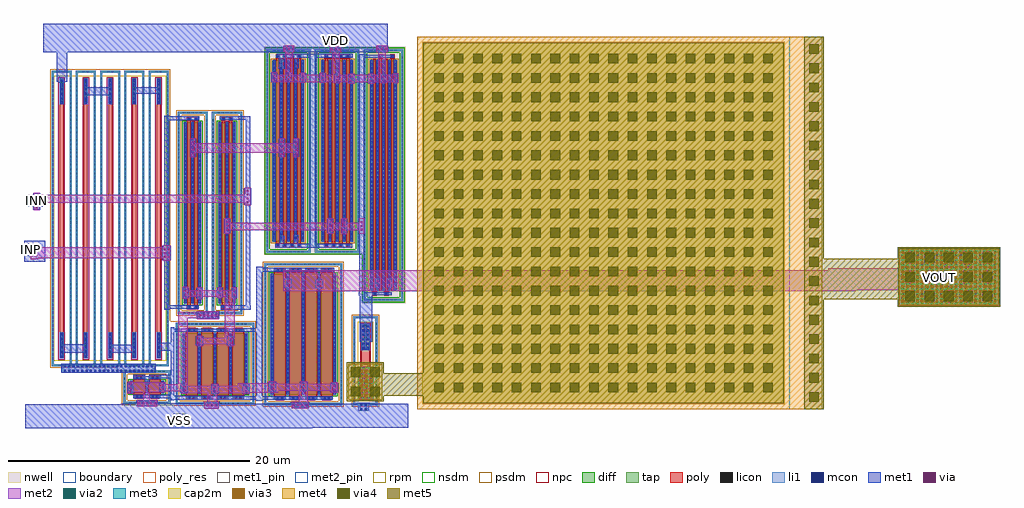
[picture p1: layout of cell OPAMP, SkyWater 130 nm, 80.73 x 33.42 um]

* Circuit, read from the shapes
.subckt OPAMP INN INP VDD VOUT VSS
XM1 n1 n1 VSS VSS sky130_fd_pr__nfet_01v8 w=1 l=1 m=2
XM2 n2 n1 VSS VSS sky130_fd_pr__nfet_01v8 w=5 l=1 m=4
XM3 n3 INP n2 VSS sky130_fd_pr__nfet_01v8 w=15 l=0.3 m=2
XM4 n4 INN n2 VSS sky130_fd_pr__nfet_01v8 w=15 l=0.3 m=2
XM5 VOUT n1 VSS VSS sky130_fd_pr__nfet_01v8 w=10 l=1 m=4
XM6 n3 n3 VDD VDD sky130_fd_pr__pfet_01v8 w=15 l=0.3 m=4
XM7 n4 n3 VDD VDD sky130_fd_pr__pfet_01v8 w=15 l=0.3 m=4
XM8 VOUT n4 VDD VDD sky130_fd_pr__pfet_01v8 w=19 l=0.2 m=4
XC9 n5 VOUT sky130_fd_pr__cap_mim_m3_2 w=30 l=30
XR10 VDD n6 VSS sky130_fd_pr__res_high_po w=0.35 l=18.88
XR11 n7 n6 VSS sky130_fd_pr__res_high_po w=0.35 l=18.88
XR12 n7 n8 VSS sky130_fd_pr__res_high_po w=0.35 l=18.88
XR13 n9 n8 VSS sky130_fd_pr__res_high_po w=0.35 l=18.88
XR14 n9 n1 VSS sky130_fd_pr__res_high_po w=0.35 l=18.88
XR15 n4 n5 VSS sky130_fd_pr__res_high_po w=0.69 l=1.78
.ends

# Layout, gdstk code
import gdstk
lib = gdstk.Library(unit=1e-6, precision=1e-09)
def R(c, l, rs):  # rectangles x0, y0, x1, y1
    for r in rs: c.add(gdstk.rectangle(r[:2], r[2:], *l))
def A(c, l, x, y, w, h, nx, ny, dx, dy):  # array of equal rectangles
    R(c, l, [(x+i*dx, y+j*dy, x+i*dx+w, y+j*dy+h) for i in range(nx) for j in range(ny)])
nwell = (64, 20)
diff = (65, 20)
tap = (65, 44)
poly_res = (66, 13)
poly = (66, 20)
licon = (66, 44)
li1 = (67, 20)
mcon = (67, 44)
met1_pin = (68, 16)
met1 = (68, 20)
via = (68, 44)
met2_pin = (69, 16)
met2 = (69, 20)
via2 = (69, 44)
met3 = (70, 20)
via3 = (70, 44)
met4 = (71, 20)
via4 = (71, 44)
met5 = (72, 20)
rpm = (86, 20)
nsdm = (93, 44)
psdm = (94, 20)
npc = (95, 20)
cap2m = (97, 44)
boundary = (235, 4)

sky130_fd_pr__res_high_p = lib.new_cell('sky130_fd_pr__res_high_po_0p35_BQ2QQJ')
R(sky130_fd_pr__res_high_p, tap, [(-0.825,-12.23,0.825,-12.06), (-0.825,-12.06,-0.655,12.06), (0.655,-12.06,0.825,12.06), (-0.825,12.06,0.825,12.23)])
R(sky130_fd_pr__res_high_p, poly_res, [(-0.175,-9.5,0.175,9.5)])
R(sky130_fd_pr__res_high_p, poly, [(-0.175,-11.58,0.175,11.58)])
A(sky130_fd_pr__res_high_p, licon, -0.825, -11.645, 0.17, 0.17, 1, 69, 0, 0.34)
A(sky130_fd_pr__res_high_p, licon, 0.655, -11.645, 0.17, 0.17, 1, 69, 0, 0.34)
R(sky130_fd_pr__res_high_p, licon, [(-0.255,-12.23,-0.085,-12.06), (0.085,-12.23,0.255,-12.06), (-0.095,-11.5,0.095,-9.5), (-0.095,9.5,0.095,11.5), (-0.255,12.06,-0.085,12.23), (0.085,12.06,0.255,12.23)])
R(sky130_fd_pr__res_high_p, li1, [(-0.825,-12.23,0.825,-12.06), (-0.825,-12.06,-0.655,12.06), (0.655,-12.06,0.825,12.06), (-0.175,-11.58,0.175,-9.42), (-0.175,9.42,0.175,11.58), (-0.825,12.06,0.825,12.23)])
A(sky130_fd_pr__res_high_p, mcon, -0.085, -11.485, 0.17, 0.17, 1, 6, 0, 0.36)
A(sky130_fd_pr__res_high_p, mcon, -0.085, 9.51, 0.17, 0.17, 1, 6, 0, 0.36)
R(sky130_fd_pr__res_high_p, met1, [(-0.125,-11.55,0.125,-9.445), (-0.125,9.445,0.125,11.55)])
R(sky130_fd_pr__res_high_p, rpm, [(-0.635,-11.78,0.635,11.78)])
R(sky130_fd_pr__res_high_p, psdm, [(-0.95,-12.355,0.95,12.355)])
R(sky130_fd_pr__res_high_p, npc, [(-0.27,-11.675,0.27,11.675)])
R(sky130_fd_pr__res_high_p, boundary, [(-0.74,-12.145,0.74,12.145)])

sky130_fd_pr__nfet_01v8_ = lib.new_cell('sky130_fd_pr__nfet_01v8_JCA7Y6')
R(sky130_fd_pr__nfet_01v8_, diff, [(-1.435,-0.5,1.435,0.5)])
R(sky130_fd_pr__nfet_01v8_, tap, [(-1.945,-1.37,1.945,-1.2), (-1.945,-1.2,-1.775,1.2), (1.775,-1.2,1.945,1.2), (-1.945,1.2,1.945,1.37)])
R(sky130_fd_pr__nfet_01v8_, poly, [(-1.145,-0.94,-0.145,0.94), (0.145,-0.94,1.145,0.94)])
A(sky130_fd_pr__nfet_01v8_, licon, -1.445, -1.37, 0.17, 0.17, 9, 2, 0.34, 2.57)
A(sky130_fd_pr__nfet_01v8_, licon, -1.945, -0.765, 0.17, 0.17, 1, 5, 0, 0.34)
A(sky130_fd_pr__nfet_01v8_, licon, 1.775, -0.765, 0.17, 0.17, 1, 5, 0, 0.34)
A(sky130_fd_pr__nfet_01v8_, licon, -1.375, -0.425, 0.17, 0.17, 3, 3, 1.29, 0.34)
R(sky130_fd_pr__nfet_01v8_, licon, [(-0.9,-0.86,-0.73,-0.69), (-0.56,-0.86,-0.39,-0.69), (0.39,-0.86,0.56,-0.69), (0.73,-0.86,0.9,-0.69), (-0.9,0.69,-0.73,0.86), (-0.56,0.69,-0.39,0.86), (0.39,0.69,0.56,0.86), (0.73,0.69,0.9,0.86)])
A(sky130_fd_pr__nfet_01v8_, li1, -1.375, -0.52, 0.17, 1.04, 3, 1, 1.29, 0)
R(sky130_fd_pr__nfet_01v8_, li1, [(-1.945,-1.37,1.945,-1.2), (-1.945,-1.2,-1.775,1.2), (1.775,-1.2,1.945,1.2), (-1.145,-0.86,-0.145,-0.69), (0.145,-0.86,1.145,-0.69), (-1.145,0.69,-0.145,0.86), (0.145,0.69,1.145,0.86), (-1.945,1.2,1.945,1.37)])
A(sky130_fd_pr__nfet_01v8_, mcon, -1.375, -0.265, 0.17, 0.17, 3, 2, 1.29, 0.36)
R(sky130_fd_pr__nfet_01v8_, mcon, [(-0.91,-0.86,-0.74,-0.69), (-0.55,-0.86,-0.38,-0.69), (0.38,-0.86,0.55,-0.69), (0.74,-0.86,0.91,-0.69), (-0.91,0.69,-0.74,0.86), (-0.55,0.69,-0.38,0.86), (0.38,0.69,0.55,0.86), (0.74,0.69,0.91,0.86)])
A(sky130_fd_pr__nfet_01v8_, met1, -1.405, -0.5, 0.23, 1, 3, 1, 1.29, 0)
R(sky130_fd_pr__nfet_01v8_, met1, [(-1.125,-0.89,-0.165,-0.66), (0.165,-0.89,1.125,-0.66), (-1.125,0.66,-0.165,0.89), (0.165,0.66,1.125,0.89)])
R(sky130_fd_pr__nfet_01v8_, nsdm, [(-1.56,-0.625,1.56,0.625)])
R(sky130_fd_pr__nfet_01v8_, psdm, [(-2.07,-1.495,2.07,-1.075), (-2.07,-1.075,-1.65,1.075), (1.65,-1.075,2.07,1.075), (-2.07,1.075,2.07,1.495)])
R(sky130_fd_pr__nfet_01v8_, npc, [(-1,-0.96,-0.29,-0.59), (0.29,-0.96,1,-0.59), (-1,0.59,-0.29,0.96), (0.29,0.59,1,0.96)])
R(sky130_fd_pr__nfet_01v8_, boundary, [(-1.86,-1.285,1.86,1.285)])

c_sky130_fd_pr__nfet_01v8_ = lib.new_cell('sky130_fd_pr__nfet_01v8_4G38HM')
R(c_sky130_fd_pr__nfet_01v8_, diff, [(-2.725,-2.5,2.725,2.5)])
R(c_sky130_fd_pr__nfet_01v8_, tap, [(-3.235,-3.37,3.235,-3.2), (-3.235,-3.2,-3.065,3.2), (3.065,-3.2,3.235,3.2), (-3.235,3.2,3.235,3.37)])
A(c_sky130_fd_pr__nfet_01v8_, poly, -2.435, -2.94, 1, 5.88, 4, 1, 1.29, 0)
A(c_sky130_fd_pr__nfet_01v8_, licon, -2.635, -3.37, 0.17, 0.17, 16, 2, 0.34, 6.57)
A(c_sky130_fd_pr__nfet_01v8_, licon, -3.235, -2.805, 0.17, 0.17, 1, 17, 0, 0.34)
A(c_sky130_fd_pr__nfet_01v8_, licon, 3.065, -2.805, 0.17, 0.17, 1, 17, 0, 0.34)
A(c_sky130_fd_pr__nfet_01v8_, licon, -2.665, -2.295, 0.17, 0.17, 5, 14, 1.29, 0.34)
R(c_sky130_fd_pr__nfet_01v8_, licon, [(-2.19,-2.86,-2.02,-2.69), (-1.85,-2.86,-1.68,-2.69), (-0.9,-2.86,-0.73,-2.69), (-0.56,-2.86,-0.39,-2.69), (0.39,-2.86,0.56,-2.69), (0.73,-2.86,0.9,-2.69), (1.68,-2.86,1.85,-2.69), (2.02,-2.86,2.19,-2.69), (-2.19,2.69,-2.02,2.86), (-1.85,2.69,-1.68,2.86), (-0.9,2.69,-0.73,2.86), (-0.56,2.69,-0.39,2.86), (0.39,2.69,0.56,2.86), (0.73,2.69,0.9,2.86), (1.68,2.69,1.85,2.86), (2.02,2.69,2.19,2.86)])
A(c_sky130_fd_pr__nfet_01v8_, li1, -2.435, -2.86, 1, 0.17, 4, 2, 1.29, 5.55)
A(c_sky130_fd_pr__nfet_01v8_, li1, -2.665, -2.52, 0.17, 5.04, 5, 1, 1.29, 0)
R(c_sky130_fd_pr__nfet_01v8_, li1, [(-3.235,-3.37,3.235,-3.2), (-3.235,-3.2,-3.065,3.2), (3.065,-3.2,3.235,3.2), (-3.235,3.2,3.235,3.37)])
A(c_sky130_fd_pr__nfet_01v8_, mcon, -2.665, -2.425, 0.17, 0.17, 5, 14, 1.29, 0.36)
R(c_sky130_fd_pr__nfet_01v8_, mcon, [(-2.2,-2.86,-2.03,-2.69), (-1.84,-2.86,-1.67,-2.69), (-0.91,-2.86,-0.74,-2.69), (-0.55,-2.86,-0.38,-2.69), (0.38,-2.86,0.55,-2.69), (0.74,-2.86,0.91,-2.69), (1.67,-2.86,1.84,-2.69), (2.03,-2.86,2.2,-2.69), (-2.2,2.69,-2.03,2.86), (-1.84,2.69,-1.67,2.86), (-0.91,2.69,-0.74,2.86), (-0.55,2.69,-0.38,2.86), (0.38,2.69,0.55,2.86), (0.74,2.69,0.91,2.86), (1.67,2.69,1.84,2.86), (2.03,2.69,2.2,2.86)])
A(c_sky130_fd_pr__nfet_01v8_, met1, -2.415, -2.89, 0.96, 0.23, 4, 2, 1.29, 5.55)
A(c_sky130_fd_pr__nfet_01v8_, met1, -2.695, -2.5, 0.23, 5, 5, 1, 1.29, 0)
R(c_sky130_fd_pr__nfet_01v8_, nsdm, [(-2.85,-2.625,2.85,2.625)])
R(c_sky130_fd_pr__nfet_01v8_, psdm, [(-3.36,-3.495,3.36,-3.075), (-3.36,-3.075,-2.94,3.075), (2.94,-3.075,3.36,3.075), (-3.36,3.075,3.36,3.495)])
A(c_sky130_fd_pr__nfet_01v8_, npc, -2.29, -2.96, 0.71, 0.37, 4, 2, 1.29, 5.55)
R(c_sky130_fd_pr__nfet_01v8_, boundary, [(-3.15,-3.285,3.15,3.285)])

c_sky130_fd_pr__nfet_01v8__ = lib.new_cell('sky130_fd_pr__nfet_01v8_7PL8E9')
R(c_sky130_fd_pr__nfet_01v8__, diff, [(-0.735,-7.5,0.735,7.5)])
R(c_sky130_fd_pr__nfet_01v8__, tap, [(-1.245,-8.37,1.245,-8.2), (-1.245,-8.2,-1.075,8.2), (1.075,-8.2,1.245,8.2), (-1.245,8.2,1.245,8.37)])
R(c_sky130_fd_pr__nfet_01v8__, poly, [(-0.46,-7.94,-0.13,-7.61), (0.13,-7.94,0.46,-7.61), (-0.445,-7.61,-0.145,7.61), (0.145,-7.61,0.445,7.61), (-0.46,7.61,-0.13,7.94), (0.13,7.61,0.46,7.94)])
A(c_sky130_fd_pr__nfet_01v8__, licon, -0.765, -8.37, 0.17, 0.17, 5, 2, 0.34, 16.57)
A(c_sky130_fd_pr__nfet_01v8__, licon, -1.245, -7.735, 0.17, 0.17, 1, 46, 0, 0.34)
A(c_sky130_fd_pr__nfet_01v8__, licon, 1.075, -7.735, 0.17, 0.17, 1, 46, 0, 0.34)
A(c_sky130_fd_pr__nfet_01v8__, licon, -0.675, -7.395, 0.17, 0.17, 3, 44, 0.59, 0.34)
R(c_sky130_fd_pr__nfet_01v8__, licon, [(-0.38,-7.86,-0.21,-7.69), (0.21,-7.86,0.38,-7.69), (-0.38,7.69,-0.21,7.86), (0.21,7.69,0.38,7.86)])
A(c_sky130_fd_pr__nfet_01v8__, li1, -0.675, -7.52, 0.17, 15.04, 3, 1, 0.59, 0)
R(c_sky130_fd_pr__nfet_01v8__, li1, [(-1.245,-8.37,1.245,-8.2), (-1.245,-8.2,-1.075,8.2), (1.075,-8.2,1.245,8.2), (-0.46,-7.86,-0.13,-7.69), (0.13,-7.86,0.46,-7.69), (-0.46,7.69,-0.13,7.86), (0.13,7.69,0.46,7.86), (-1.245,8.2,1.245,8.37)])
A(c_sky130_fd_pr__nfet_01v8__, mcon, -0.675, -7.285, 0.17, 0.17, 3, 41, 0.59, 0.36)
R(c_sky130_fd_pr__nfet_01v8__, mcon, [(-0.38,-7.86,-0.21,-7.69), (0.21,-7.86,0.38,-7.69), (-0.38,7.69,-0.21,7.86), (0.21,7.69,0.38,7.86)])
A(c_sky130_fd_pr__nfet_01v8__, met1, -0.705, -7.5, 0.23, 15, 3, 1, 0.59, 0)
R(c_sky130_fd_pr__nfet_01v8__, met1, [(-0.44,-7.89,-0.15,-7.66), (0.15,-7.89,0.44,-7.66), (-0.44,7.66,-0.15,7.89), (0.15,7.66,0.44,7.89)])
R(c_sky130_fd_pr__nfet_01v8__, nsdm, [(-0.86,-7.625,0.86,7.625)])
R(c_sky130_fd_pr__nfet_01v8__, psdm, [(-1.37,-8.495,1.37,-8.075), (-1.37,-8.075,-0.95,8.075), (0.95,-8.075,1.37,8.075), (-1.37,8.075,1.37,8.495)])
R(c_sky130_fd_pr__nfet_01v8__, npc, [(-0.48,-7.96,0.48,-7.59), (-0.48,7.59,0.48,7.96)])
R(c_sky130_fd_pr__nfet_01v8__, boundary, [(-1.16,-8.285,1.16,8.285)])

sky130_fd_pr__pfet_01v8_ = lib.new_cell('sky130_fd_pr__pfet_01v8_Q9ENJR')
R(sky130_fd_pr__pfet_01v8_, nwell, [(-2.015,-8.595,2.015,8.595)])
R(sky130_fd_pr__pfet_01v8_, diff, [(-1.325,-7.5,1.325,7.5)])
R(sky130_fd_pr__pfet_01v8_, tap, [(-1.835,-8.415,1.835,-8.245), (-1.835,-8.245,-1.665,8.245), (1.665,-8.245,1.835,8.245), (-1.835,8.245,1.835,8.415)])
A(sky130_fd_pr__pfet_01v8_, poly, -1.05, -7.985, 0.33, 0.33, 4, 2, 0.59, 15.64)
A(sky130_fd_pr__pfet_01v8_, poly, -1.035, -7.655, 0.3, 15.31, 4, 1, 0.59, 0)
A(sky130_fd_pr__pfet_01v8_, licon, -1.275, -8.415, 0.17, 0.17, 8, 2, 0.34, 16.66)
A(sky130_fd_pr__pfet_01v8_, licon, -1.835, -7.905, 0.17, 0.17, 1, 47, 0, 0.34)
A(sky130_fd_pr__pfet_01v8_, licon, -0.97, -7.905, 0.17, 0.17, 4, 2, 0.59, 15.64)
A(sky130_fd_pr__pfet_01v8_, licon, 1.665, -7.905, 0.17, 0.17, 1, 47, 0, 0.34)
A(sky130_fd_pr__pfet_01v8_, licon, -1.265, -7.395, 0.17, 0.17, 5, 44, 0.59, 0.34)
A(sky130_fd_pr__pfet_01v8_, li1, -1.05, -7.905, 0.33, 0.17, 4, 2, 0.59, 15.64)
A(sky130_fd_pr__pfet_01v8_, li1, -1.265, -7.52, 0.17, 15.04, 5, 1, 0.59, 0)
R(sky130_fd_pr__pfet_01v8_, li1, [(-1.835,-8.415,1.835,-8.245), (-1.835,-8.245,-1.665,8.245), (1.665,-8.245,1.835,8.245), (-1.835,8.245,1.835,8.415)])
A(sky130_fd_pr__pfet_01v8_, mcon, -0.97, -7.905, 0.17, 0.17, 4, 2, 0.59, 15.64)
A(sky130_fd_pr__pfet_01v8_, mcon, -1.265, -7.285, 0.17, 0.17, 5, 41, 0.59, 0.36)
A(sky130_fd_pr__pfet_01v8_, met1, -1.03, -7.935, 0.29, 0.23, 4, 2, 0.59, 15.64)
A(sky130_fd_pr__pfet_01v8_, met1, -1.295, -7.5, 0.23, 15, 5, 1, 0.59, 0)
R(sky130_fd_pr__pfet_01v8_, nsdm, [(-1.96,-8.54,1.96,-8.12), (-1.96,-8.12,-1.54,8.12), (1.54,-8.12,1.96,8.12), (-1.96,8.12,1.96,8.54)])
R(sky130_fd_pr__pfet_01v8_, psdm, [(-1.45,-7.625,1.45,7.625)])
R(sky130_fd_pr__pfet_01v8_, npc, [(-1.07,-8.005,1.07,-7.635), (-1.07,7.635,1.07,8.005)])
R(sky130_fd_pr__pfet_01v8_, boundary, [(-1.75,-8.33,1.75,8.33)])

c_sky130_fd_pr__nfet_01v8___ = lib.new_cell('sky130_fd_pr__nfet_01v8_24RZ45')
R(c_sky130_fd_pr__nfet_01v8___, diff, [(-2.725,-5,2.725,5)])
R(c_sky130_fd_pr__nfet_01v8___, tap, [(-3.235,-5.87,3.235,-5.7), (-3.235,-5.7,-3.065,5.7), (3.065,-5.7,3.235,5.7), (-3.235,5.7,3.235,5.87)])
A(c_sky130_fd_pr__nfet_01v8___, poly, -2.435, -5.44, 1, 10.88, 4, 1, 1.29, 0)
A(c_sky130_fd_pr__nfet_01v8___, licon, -2.635, -5.87, 0.17, 0.17, 16, 2, 0.34, 11.57)
A(c_sky130_fd_pr__nfet_01v8___, licon, -3.235, -5.355, 0.17, 0.17, 1, 32, 0, 0.34)
A(c_sky130_fd_pr__nfet_01v8___, licon, 3.065, -5.355, 0.17, 0.17, 1, 32, 0, 0.34)
A(c_sky130_fd_pr__nfet_01v8___, licon, -2.665, -4.845, 0.17, 0.17, 5, 29, 1.29, 0.34)
R(c_sky130_fd_pr__nfet_01v8___, licon, [(-2.19,-5.36,-2.02,-5.19), (-1.85,-5.36,-1.68,-5.19), (-0.9,-5.36,-0.73,-5.19), (-0.56,-5.36,-0.39,-5.19), (0.39,-5.36,0.56,-5.19), (0.73,-5.36,0.9,-5.19), (1.68,-5.36,1.85,-5.19), (2.02,-5.36,2.19,-5.19), (-2.19,5.19,-2.02,5.36), (-1.85,5.19,-1.68,5.36), (-0.9,5.19,-0.73,5.36), (-0.56,5.19,-0.39,5.36), (0.39,5.19,0.56,5.36), (0.73,5.19,0.9,5.36), (1.68,5.19,1.85,5.36), (2.02,5.19,2.19,5.36)])
A(c_sky130_fd_pr__nfet_01v8___, li1, -2.435, -5.36, 1, 0.17, 4, 2, 1.29, 10.55)
A(c_sky130_fd_pr__nfet_01v8___, li1, -2.665, -5.02, 0.17, 10.04, 5, 1, 1.29, 0)
R(c_sky130_fd_pr__nfet_01v8___, li1, [(-3.235,-5.87,3.235,-5.7), (-3.235,-5.7,-3.065,5.7), (3.065,-5.7,3.235,5.7), (-3.235,5.7,3.235,5.87)])
A(c_sky130_fd_pr__nfet_01v8___, mcon, -2.665, -4.765, 0.17, 0.17, 5, 27, 1.29, 0.36)
R(c_sky130_fd_pr__nfet_01v8___, mcon, [(-2.2,-5.36,-2.03,-5.19), (-1.84,-5.36,-1.67,-5.19), (-0.91,-5.36,-0.74,-5.19), (-0.55,-5.36,-0.38,-5.19), (0.38,-5.36,0.55,-5.19), (0.74,-5.36,0.91,-5.19), (1.67,-5.36,1.84,-5.19), (2.03,-5.36,2.2,-5.19), (-2.2,5.19,-2.03,5.36), (-1.84,5.19,-1.67,5.36), (-0.91,5.19,-0.74,5.36), (-0.55,5.19,-0.38,5.36), (0.38,5.19,0.55,5.36), (0.74,5.19,0.91,5.36), (1.67,5.19,1.84,5.36), (2.03,5.19,2.2,5.36)])
A(c_sky130_fd_pr__nfet_01v8___, met1, -2.415, -5.39, 0.96, 0.23, 4, 2, 1.29, 10.55)
A(c_sky130_fd_pr__nfet_01v8___, met1, -2.695, -5, 0.23, 10, 5, 1, 1.29, 0)
R(c_sky130_fd_pr__nfet_01v8___, nsdm, [(-2.85,-5.125,2.85,5.125)])
R(c_sky130_fd_pr__nfet_01v8___, psdm, [(-3.36,-5.995,3.36,-5.575), (-3.36,-5.575,-2.94,5.575), (2.94,-5.575,3.36,5.575), (-3.36,5.575,3.36,5.995)])
A(c_sky130_fd_pr__nfet_01v8___, npc, -2.29, -5.46, 0.71, 0.37, 4, 2, 1.29, 10.55)
R(c_sky130_fd_pr__nfet_01v8___, boundary, [(-3.15,-5.785,3.15,5.785)])

c_sky130_fd_pr__res_high_p = lib.new_cell('sky130_fd_pr__res_high_po_0p69_UD9NEZ')
R(c_sky130_fd_pr__res_high_p, tap, [(-0.995,-3.68,0.995,-3.51), (-0.995,-3.51,-0.825,3.51), (0.825,-3.51,0.995,3.51), (-0.995,3.51,0.995,3.68)])
R(c_sky130_fd_pr__res_high_p, poly_res, [(-0.345,-0.95,0.345,0.95)])
R(c_sky130_fd_pr__res_high_p, poly, [(-0.345,-3.03,0.345,3.03)])
A(c_sky130_fd_pr__res_high_p, licon, -0.425, -3.68, 0.17, 0.17, 3, 2, 0.34, 7.19)
A(c_sky130_fd_pr__res_high_p, licon, -0.995, -3.145, 0.17, 0.17, 1, 19, 0, 0.34)
A(c_sky130_fd_pr__res_high_p, licon, 0.825, -3.145, 0.17, 0.17, 1, 19, 0, 0.34)
R(c_sky130_fd_pr__res_high_p, licon, [(-0.095,-2.95,0.095,-0.95), (-0.095,0.95,0.095,2.95)])
R(c_sky130_fd_pr__res_high_p, li1, [(-0.995,-3.68,0.995,-3.51), (-0.995,-3.51,-0.825,3.51), (0.825,-3.51,0.995,3.51), (-0.345,-3.03,0.345,-0.87), (-0.345,0.87,0.345,3.03), (-0.995,3.51,0.995,3.68)])
A(c_sky130_fd_pr__res_high_p, mcon, -0.265, 0.96, 0.17, 0.17, 1, 6, 0, 0.36)
A(c_sky130_fd_pr__res_high_p, mcon, 0.095, 0.96, 0.17, 0.17, 1, 6, 0, 0.36)
R(c_sky130_fd_pr__res_high_p, met1, [(-0.295,-3,0.295,-0.895), (-0.295,0.895,0.295,3)])
R(c_sky130_fd_pr__res_high_p, rpm, [(-0.635,-3.23,0.635,3.23)])
R(c_sky130_fd_pr__res_high_p, psdm, [(-1.12,-3.805,1.12,3.805)])
R(c_sky130_fd_pr__res_high_p, npc, [(-0.44,-3.125,0.44,3.125)])
R(c_sky130_fd_pr__res_high_p, boundary, [(-0.91,-3.595,0.91,3.595)])

c_sky130_fd_pr__pfet_01v8_ = lib.new_cell('sky130_fd_pr__pfet_01v8_R7N38B')
R(c_sky130_fd_pr__pfet_01v8_, nwell, [(-1.815,-10.595,1.815,10.595)])
R(c_sky130_fd_pr__pfet_01v8_, diff, [(-1.125,-9.5,1.125,9.5)])
R(c_sky130_fd_pr__pfet_01v8_, tap, [(-1.635,-10.415,1.635,-10.245), (-1.635,-10.245,-1.465,10.245), (1.465,-10.245,1.635,10.245), (-1.635,10.245,1.635,10.415)])
R(c_sky130_fd_pr__pfet_01v8_, poly, [(-0.9,-9.985,-0.57,-9.655), (0.08,-9.985,0.41,-9.655), (-0.835,-9.655,-0.635,9.63), (0.145,-9.655,0.345,9.63), (-0.345,-9.63,-0.145,9.655), (0.635,-9.63,0.835,9.655), (-0.41,9.655,-0.08,9.985), (0.57,9.655,0.9,9.985)])
A(c_sky130_fd_pr__pfet_01v8_, licon, -1.105, -10.415, 0.17, 0.17, 7, 2, 0.34, 20.66)
A(c_sky130_fd_pr__pfet_01v8_, licon, -1.635, -9.775, 0.17, 0.17, 1, 58, 0, 0.34)
A(c_sky130_fd_pr__pfet_01v8_, licon, 1.465, -9.775, 0.17, 0.17, 1, 58, 0, 0.34)
A(c_sky130_fd_pr__pfet_01v8_, licon, -1.065, -9.435, 0.17, 0.17, 5, 56, 0.49, 0.34)
R(c_sky130_fd_pr__pfet_01v8_, licon, [(-0.82,-9.905,-0.65,-9.735), (0.16,-9.905,0.33,-9.735), (-0.33,9.735,-0.16,9.905), (0.65,9.735,0.82,9.905)])
A(c_sky130_fd_pr__pfet_01v8_, li1, -1.065, -9.52, 0.17, 19.04, 5, 1, 0.49, 0)
R(c_sky130_fd_pr__pfet_01v8_, li1, [(-1.635,-10.415,1.635,-10.245), (-1.635,-10.245,-1.465,10.245), (1.465,-10.245,1.635,10.245), (-0.9,-9.905,-0.57,-9.735), (0.08,-9.905,0.41,-9.735), (-0.41,9.735,-0.08,9.905), (0.57,9.735,0.9,9.905), (-1.635,10.245,1.635,10.415)])
A(c_sky130_fd_pr__pfet_01v8_, mcon, -1.065, -9.265, 0.17, 0.17, 5, 52, 0.49, 0.36)
R(c_sky130_fd_pr__pfet_01v8_, mcon, [(-0.82,-9.905,-0.65,-9.735), (0.16,-9.905,0.33,-9.735), (-0.33,9.735,-0.16,9.905), (0.65,9.735,0.82,9.905)])
A(c_sky130_fd_pr__pfet_01v8_, met1, -1.095, -9.5, 0.23, 19, 5, 1, 0.49, 0)
R(c_sky130_fd_pr__pfet_01v8_, met1, [(-0.88,-9.935,-0.59,-9.705), (0.1,-9.935,0.39,-9.705), (-0.39,9.705,-0.1,9.935), (0.59,9.705,0.88,9.935)])
R(c_sky130_fd_pr__pfet_01v8_, nsdm, [(-1.76,-10.54,1.76,-10.12), (-1.76,-10.12,-1.34,10.12), (1.34,-10.12,1.76,10.12), (-1.76,10.12,1.76,10.54)])
R(c_sky130_fd_pr__pfet_01v8_, psdm, [(-1.25,-9.625,1.25,9.625)])
R(c_sky130_fd_pr__pfet_01v8_, npc, [(-0.92,-10.005,-0.55,-9.635), (0.06,-10.005,0.43,-9.635), (-0.43,9.635,-0.06,10.005), (0.55,9.635,0.92,10.005)])
R(c_sky130_fd_pr__pfet_01v8_, boundary, [(-1.55,-10.33,1.55,10.33)])

sky130_fd_pr__cap_mim_m3 = lib.new_cell('sky130_fd_pr__cap_mim_m3_2_VNZUKL')
R(sky130_fd_pr__cap_mim_m3, met4, [(-16.745,-15.4,16.745,15.4)])
A(sky130_fd_pr__cap_mim_m3, via4, 15.655, -14.8, 0.8, 0.8, 1, 19, 0, 1.6)
A(sky130_fd_pr__cap_mim_m3, via4, -15.345, -14, 0.8, 0.8, 18, 18, 1.6, 1.6)
R(sky130_fd_pr__cap_mim_m3, met5, [(15.255,-15.405,16.855,15.405), (-16.265,-14.92,13.575,14.92)])
R(sky130_fd_pr__cap_mim_m3, cap2m, [(-16.345,-15,13.655,15)])
R(sky130_fd_pr__cap_mim_m3, boundary, [(-16.745,-15.4,14.055,15.4)])

opamp = lib.new_cell('OPAMP')
R(opamp, li1, [(20.56,-26.89,21.44,-26.23), (7.84,-26.65,9.03,-26.16), (15.04,-26.6,16.46,-26.19), (2.27,-26.47,3.92,-26.03), (20.62,-25.93,21.81,-23.3), (-3.96,-23.71,3.73,-23.02), (7.26,-19.24,9.01,-18.68), (18.21,2.82,19.15,3.24), (22.04,2.85,22.98,3.27), (14.34,2.86,15.28,3.28)])
A(opamp, mcon, 7.99, -26.49, 0.17, 0.17, 3, 1, 0.36, 0)
A(opamp, mcon, 15.125, -26.48, 0.17, 0.17, 4, 1, 0.36, 0)
A(opamp, mcon, 2.29, -26.335, 0.17, 0.17, 5, 1, 0.36, 0)
A(opamp, mcon, 20.77, -25.78, 0.17, 0.17, 3, 7, 0.36, 0.36)
A(opamp, mcon, -3.8, -23.63, 0.17, 0.17, 21, 2, 0.36, 0.36)
A(opamp, mcon, 7.33, -19.225, 0.17, 0.17, 5, 2, 0.36, 0.36)
A(opamp, mcon, 18.235, 2.945, 0.17, 0.17, 3, 1, 0.36, 0)
A(opamp, mcon, 22.065, 2.975, 0.17, 0.17, 3, 1, 0.36, 0)
A(opamp, mcon, 14.365, 2.985, 0.17, 0.17, 3, 1, 0.36, 0)
R(opamp, mcon, [(20.735,-26.825,20.905,-26.655), (21.095,-26.825,21.265,-26.655), (20.735,-26.465,20.905,-26.295), (21.095,-26.465,21.265,-26.295)])
R(opamp, met1_pin, [(5.26,-28.14,6.26,-27.14), (-7.02,-14.06,-6.02,-13.06), (-6.53,-10,-5.53,-9), (18.16,3.29,19.16,4.29)])
R(opamp, met1, [(-6.97,-28.3,16.75,-28.27), (-6.97,-28.27,24.68,-26.33), (0.96,-26.33,24.68,-26.3), (2.21,-26.3,9.09,-26.25), (14.98,-26.3,16.52,-26.16), (20.5,-26.3,21.5,-26.2), (2.21,-26.25,3.98,-26), (7.78,-26.25,9.09,-26.13), (12.1,-26.05,12.6,-25.96), (5.06,-26,5.32,-25.96), (20.59,-25.99,21.84,-25.93), (5.06,-25.96,18.46,-25.84), (20.57,-25.93,21.86,-23.3), (1.94,-25.85,4.16,-25.84), (1.94,-25.84,18.46,-25.67), (1.94,-25.67,12.6,-25.66), (1.94,-25.66,11.19,-25.65), (12.1,-25.66,12.6,-20.32), (1.94,-25.65,5.33,-25.56), (5.06,-25.56,5.33,-24.19), (10.96,-25.47,11.58,-24.72), (8.4,-25.45,9.02,-24.7), (1.43,-25.42,1.99,-24.51), (5.85,-25.4,6.47,-24.65), (18.24,-25.35,18.91,-24.58), (4.09,-25.26,4.65,-24.59), (15.7,-25.25,16.37,-24.48), (13.11,-25.24,13.78,-24.47), (2.88,-24.68,3.33,-24.2), (1.94,-24.2,4.15,-24.15), (4.16,-24.19,5.33,-24.15), (1.94,-24.15,5.33,-24.03), (1.94,-24.03,2.93,-23.91), (3.25,-24.03,5.33,-23.91), (5.06,-23.91,5.33,-23.9), (5.06,-23.9,5.32,-21.89), (-4.02,-23.74,3.79,-22.99), (20.59,-23.3,21.84,-23.24), (0.11,-22.09,2.03,-21.41), (-3.95,-22.06,-2.03,-21.38), (4.01,-21.89,5.32,-21.24), (7.1,-21.47,7.72,-20.72), (9.69,-21.47,10.31,-20.72), (5.06,-21.24,5.32,-20.33), (20.69,-21.17,21.7,-17.35), (5.06,-20.33,11.2,-20.32), (5.06,-20.32,12.6,-20.08), (5.06,-20.08,5.32,-19.98), (11.09,-20.08,12.6,-20.04), (12.1,-20.04,12.6,-15.36), (7.2,-19.27,9.07,-18.65), (9.18,-18.53,11.66,-18.15), (4.53,-18.5,4.93,-18.45), (4.53,-18.45,7.38,-18.15), (4.53,-18.15,4.93,-14.42), (11.24,-18.15,11.61,-9.83), (65.24,-18.14,73.57,-13.46), (7.17,-17.58,7.71,-16.72), (6,-17.54,6.54,-16.68), (10.08,-17.54,10.54,-16.71), (8.87,-17.53,9.33,-16.7), (20.66,-17.35,21.7,-17.33), (20.6,-17.33,23.31,-17.09), (20.66,-17.09,21.06,-12.18), (16.99,-16.74,17.65,-16), (14.41,-16.68,15.07,-15.94), (21.94,-16.68,22.37,-15.93), (22.92,-16.67,23.35,-15.92), (12.1,-15.36,18.56,-15.03), (12.1,-15.03,12.6,-14.95), (-7.09,-14.56,-5.32,-12.79), (4.36,-14.42,5.06,-13.23), (13.7,-13.37,20.06,-13.07), (4.53,-13.23,4.93,-2.85), (14.05,-13.07,14.42,-12.39), (15.22,-13.07,15.59,-12.31), (16.55,-13.07,17.04,2.31), (19.15,-12.21,19.65,-11.01), (9.46,-12.19,9.96,-10.99), (17.98,-12.18,18.48,-10.98), (20.6,-12.18,21.1,-10.99), (20.66,-10.99,21.06,2.32), (-6.34,-10.25,-5.74,-10), (-6.83,-10,-5.53,-9), (11.1,-9.83,11.7,-8.47), (-6.34,-9,-5.74,-8.87), (11.24,-8.47,11.61,-2.81), (14,-5.86,14.52,-4.39), (15.17,-5.86,15.69,-4.39), (6.65,-5.85,7.17,-4.38), (4.53,-2.85,7.41,-2.53), (9.11,-2.81,11.61,-2.53), (4.53,-2.53,4.93,-2.49), (9.11,-2.53,11.59,-2.52), (-1.9,-0.78,0.02,-0.1), (2.04,-0.65,4,-0.11), (19.73,0.22,20.27,0.95), (21.34,0.22,21.88,0.95), (18.54,0.25,19.08,0.98), (22.41,0.26,22.88,0.97), (-4.21,0.27,-3.73,0.36), (23.39,0.28,23.86,0.99), (17.34,0.3,17.88,1.03), (15.7,0.32,16.24,1.05), (13.31,0.34,13.85,1.07), (14.52,0.35,15.06,1.08), (-4.4,0.36,-3.51,2.8), (13.98,1.41,14.49,2.31), (15.25,1.44,15.62,2.31), (13.81,2.31,20.12,2.65), (20.66,2.32,23.53,2.56), (20.66,2.56,21.06,2.62), (18.15,2.79,19.21,2.8), (-5.51,2.8,22.98,2.82), (-5.51,2.82,23.04,3.3), (-5.51,3.3,22.98,5.12)])
A(opamp, via, 8.04, -26.48, 0.15, 0.15, 3, 1, 0.32, 0)
A(opamp, via, 15.195, -26.47, 0.15, 0.15, 4, 1, 0.32, 0)
A(opamp, via, 2.38, -26.325, 0.15, 0.15, 5, 1, 0.32, 0)
A(opamp, via, 20.82, -25.81, 0.15, 0.15, 3, 8, 0.32, 0.32)
A(opamp, via, 1.635, -25.36, 0.15, 0.15, 1, 3, 0, 0.32)
A(opamp, via, 7.42, -19.035, 0.15, 0.15, 5, 1, 0.32, 0)
A(opamp, via, 65.49, -17.955, 0.15, 0.15, 25, 14, 0.32, 0.32)
A(opamp, via, 4.475, -14.22, 0.15, 0.15, 1, 3, 0, 0.32)
A(opamp, via, 4.795, -14.22, 0.15, 0.15, 1, 3, 0, 0.32)
A(opamp, via, -6.475, -14.09, 0.15, 0.15, 1, 3, 0, 0.32)
A(opamp, via, -6.155, -14.09, 0.15, 0.15, 1, 3, 0, 0.32)
A(opamp, via, 19.325, -12.005, 0.15, 0.15, 1, 3, 0, 0.32)
A(opamp, via, 9.635, -11.985, 0.15, 0.15, 1, 3, 0, 0.32)
A(opamp, via, 20.775, -11.98, 0.15, 0.15, 1, 3, 0, 0.32)
A(opamp, via, 18.155, -11.975, 0.15, 0.15, 1, 3, 0, 0.32)
A(opamp, via, -6.115, -10.115, 0.15, 0.15, 1, 4, 0, 0.32)
A(opamp, via, 11.325, -9.705, 0.15, 0.15, 1, 4, 0, 0.32)
A(opamp, via, 14.185, -5.68, 0.15, 0.15, 1, 4, 0, 0.32)
A(opamp, via, 15.355, -5.68, 0.15, 0.15, 1, 4, 0, 0.32)
A(opamp, via, 6.835, -5.67, 0.15, 0.15, 1, 4, 0, 0.32)
A(opamp, via, 18.285, 2.955, 0.15, 0.15, 3, 1, 0.32, 0)
A(opamp, via, 22.115, 2.985, 0.15, 0.15, 3, 1, 0.32, 0)
A(opamp, via, 14.415, 2.995, 0.15, 0.15, 3, 1, 0.32, 0)
R(opamp, via, [(11.195,-25.33,11.345,-25.18), (8.635,-25.31,8.785,-25.16), (6.085,-25.26,6.235,-25.11), (18.5,-25.2,18.65,-25.05), (4.295,-25.16,4.445,-25.01), (15.96,-25.1,16.11,-24.95), (13.37,-25.09,13.52,-24.94), (11.195,-25.01,11.345,-24.86), (8.635,-24.99,8.785,-24.84), (6.085,-24.94,6.235,-24.79), (18.5,-24.88,18.65,-24.73), (4.295,-24.84,4.445,-24.69), (15.96,-24.78,16.11,-24.63), (13.37,-24.77,13.52,-24.62), (7.335,-21.33,7.485,-21.18), (9.925,-21.33,10.075,-21.18), (7.335,-21.01,7.485,-20.86), (9.925,-21.01,10.075,-20.86), (7.365,-17.385,7.515,-17.235), (10.235,-17.36,10.385,-17.21), (9.025,-17.35,9.175,-17.2), (6.195,-17.345,6.345,-17.195), (7.365,-17.065,7.515,-16.915), (10.235,-17.04,10.385,-16.89), (9.025,-17.03,9.175,-16.88), (6.195,-17.025,6.345,-16.875), (17.245,-16.605,17.395,-16.455), (14.665,-16.545,14.815,-16.395), (22.08,-16.54,22.23,-16.39), (23.06,-16.53,23.21,-16.38), (17.245,-16.285,17.395,-16.135), (14.665,-16.225,14.815,-16.075), (22.08,-16.22,22.23,-16.07), (23.06,-16.21,23.21,-16.06), (19.925,0.35,20.075,0.5), (21.535,0.35,21.685,0.5), (18.735,0.38,18.885,0.53), (22.57,0.38,22.72,0.53), (23.55,0.4,23.7,0.55), (17.535,0.43,17.685,0.58), (15.895,0.45,16.045,0.6), (13.505,0.47,13.655,0.62), (14.715,0.48,14.865,0.63), (19.925,0.67,20.075,0.82), (21.535,0.67,21.685,0.82), (18.735,0.7,18.885,0.85), (22.57,0.7,22.72,0.85), (23.55,0.72,23.7,0.87), (17.535,0.75,17.685,0.9), (15.895,0.77,16.045,0.92), (13.505,0.79,13.655,0.94), (14.715,0.8,14.865,0.95)])
R(opamp, met2_pin, [(68.11,-16.37,69.11,-15.37)])
R(opamp, met2, [(7.84,-26.7,9.03,-26.11), (15.04,-26.65,16.46,-26.14), (2.27,-26.52,3.92,-25.98), (15.65,-26.14,16.39,-25.2), (8.05,-26.11,8.89,-25.5), (2.77,-25.98,3.33,-25.34), (20.62,-25.98,21.81,-23.25), (11.01,-25.52,11.53,-25.41), (8.05,-25.5,8.97,-25.41), (1.48,-25.47,1.94,-25.34), (5.9,-25.45,6.42,-25.41), (5.9,-25.41,11.53,-25.38), (18.29,-25.4,18.86,-25.2), (5.9,-25.38,13.94,-25.27), (1.48,-25.34,4.65,-25.27), (1.48,-25.27,13.94,-25.2), (1.48,-25.2,18.86,-24.8), (1.48,-24.8,6.45,-24.67), (8.45,-24.8,8.97,-24.65), (10.6,-24.8,18.86,-24.62), (1.48,-24.67,4.65,-24.53), (5.66,-24.67,6.45,-19.24), (10.6,-24.62,13.94,-24.59), (15.75,-24.62,16.32,-24.43), (18.29,-24.62,18.86,-24.53), (13.16,-24.59,13.73,-24.42), (1.48,-24.53,1.94,-24.46), (7.15,-21.52,7.67,-21.39), (9.74,-21.52,10.26,-21.39), (7.15,-21.39,10.26,-20.87), (7.15,-20.87,10.35,-20.82), (7.15,-20.82,7.67,-20.67), (9.53,-20.82,10.35,-17.59), (7.26,-19.29,9.01,-19.24), (5.66,-19.24,9.01,-18.68), (7.26,-18.68,9.01,-18.63), (65.29,-18.19,73.52,-16.91), (7.22,-17.63,7.66,-17.45), (6.05,-17.59,6.49,-17.45), (9.53,-17.59,10.49,-17.45), (8.92,-17.58,9.28,-17.45), (6.05,-17.45,10.49,-16.92), (14.35,-16.98,20.76,-16.94), (21.57,-16.98,61.71,-16.94), (14.35,-16.94,61.71,-16.91), (6.05,-16.92,6.49,-16.63), (7.22,-16.92,7.66,-16.67), (8.92,-16.92,9.28,-16.65), (10.13,-16.92,10.49,-16.66), (14.35,-16.91,73.52,-15.25), (14.35,-15.25,20.76,-15.24), (21.57,-15.25,73.52,-15.24), (59.45,-15.24,73.52,-15.09), (65.29,-15.09,73.52,-13.41), (4.41,-14.47,5.01,-14.24), (-6.54,-14.34,-5.94,-14.24), (-6.54,-14.24,5.01,-13.34), (-6.54,-13.34,-5.94,-13.05), (4.41,-13.34,5.01,-13.18), (19.2,-12.26,19.6,-11.95), (9.51,-12.24,9.91,-11.95), (18.03,-12.23,18.43,-11.95), (20.65,-12.23,21.05,-11.95), (9.51,-11.95,21.05,-11.32), (9.51,-11.32,9.91,-10.94), (18.03,-11.32,18.43,-10.93), (19.2,-11.32,19.6,-10.96), (20.65,-11.32,21.05,-10.94), (-6.29,-10.3,-5.79,-9.68), (11.15,-9.88,11.65,-9.68), (-6.29,-9.68,11.65,-9), (-6.29,-9,-5.79,-8.82), (11.15,-9,11.65,-8.42), (14.05,-5.91,14.47,-5.52), (15.22,-5.91,15.64,-5.52), (6.7,-5.9,7.12,-5.52), (6.7,-5.52,15.64,-4.75), (6.7,-4.75,7.12,-4.33), (14.05,-4.75,14.47,-4.34), (15.22,-4.75,15.64,-4.34), (19.78,0.17,20.22,0.32), (21.39,0.17,21.83,0.32), (18.59,0.2,19.03,0.32), (22.46,0.21,22.83,0.32), (23.44,0.23,23.81,0.32), (17.39,0.25,17.83,0.32), (15.75,0.27,16.19,0.32), (13.36,0.29,13.8,0.32), (14.57,0.3,15.01,0.32), (13.36,0.32,23.81,0.92), (13.36,0.92,13.8,1.12), (14.5,0.92,15.13,2.81), (15.75,0.92,16.19,1.1), (17.39,0.92,17.83,1.08), (18.39,0.92,19.03,1.03), (19.78,0.92,20.22,1), (21.39,0.92,21.83,1), (22.22,0.92,22.85,2.8), (23.44,0.92,23.81,1.04), (18.39,1.03,19.02,2.77), (18.21,2.77,19.15,3.29), (22.04,2.8,22.98,3.32), (14.34,2.81,15.28,3.33)])
A(opamp, via2, 20.715, -25.715, 0.2, 0.2, 3, 6, 0.4, 0.4)
A(opamp, via2, 65.505, -18.1, 0.2, 0.2, 20, 12, 0.4, 0.4)
R(opamp, met3, [(20.57,-25.955,21.86,-23.275), (65.24,-18.165,73.57,-13.435)])
A(opamp, via3, 20.715, -25.715, 0.2, 0.2, 3, 6, 0.4, 0.4)
A(opamp, via3, 65.505, -17.9, 0.2, 0.2, 20, 11, 0.4, 0.4)
R(opamp, met4, [(19.73,-25.96,22.55,-22.98), (65.285,-18.145,73.525,-13.455)])
A(opamp, via4, 65.805, -17.8, 0.8, 0.8, 5, 3, 1.6, 1.6)
R(opamp, via4, [(19.94,-25.67,20.74,-24.87), (21.54,-25.67,22.34,-24.87), (19.94,-24.07,20.74,-23.27), (21.54,-24.07,22.34,-23.27)])
R(opamp, met5, [(19.61,-26.08,22.67,-25.64), (19.61,-25.64,26.09,-25.21), (19.61,-25.21,26.49,-24.1), (19.61,-24.1,26.09,-23.77), (19.61,-23.77,22.67,-22.86), (65.17,-18.26,73.64,-17.66), (58.14,-17.66,73.64,-14.29), (65.17,-14.29,73.64,-13.34)])
R(opamp, rpm, [(-3.34,-22.74,-2.61,0.82), (-1.34,-22.74,-0.6,0.82), (0.67,-22.74,1.4,0.82), (2.67,-22.74,3.41,0.82)])
R(opamp, nsdm, [(16.745,-13.915,16.855,3.165), (20.775,-13.915,20.885,3.165)])
R(opamp, psdm, [(5.155,-26.405,5.345,-23.415), (0.63,-23.555,1.015,-23.415), (0.63,-23.415,5.345,-23.315), (-3.025,-23.315,-2.925,1.395), (-1.025,-23.315,-0.915,1.395), (0.985,-23.315,1.085,1.395), (2.985,-23.315,3.095,1.395), (4.995,-23.315,5.345,-19.485), (8.225,-18.995,8.335,-2.005)])
opamp.add(gdstk.Reference(sky130_fd_pr__res_high_p, (-3.975,-10.96)))
opamp.add(gdstk.Reference(sky130_fd_pr__res_high_p, (-1.975,-10.96)))
opamp.add(gdstk.Reference(sky130_fd_pr__res_high_p, (0.035,-10.96)))
opamp.add(gdstk.Reference(sky130_fd_pr__res_high_p, (2.035,-10.96)))
opamp.add(gdstk.Reference(sky130_fd_pr__nfet_01v8_, (3.085,-24.91)))
opamp.add(gdstk.Reference(sky130_fd_pr__res_high_p, (4.045,-10.96)))
opamp.add(gdstk.Reference(c_sky130_fd_pr__nfet_01v8_, (8.705,-22.98)))
opamp.add(gdstk.Reference(c_sky130_fd_pr__nfet_01v8__, (6.855,-10.5)))
opamp.add(gdstk.Reference(c_sky130_fd_pr__nfet_01v8__, (9.705,-10.5)))
opamp.add(gdstk.Reference(sky130_fd_pr__pfet_01v8_, (14.785,-5.375)))
opamp.add(gdstk.Reference(c_sky130_fd_pr__nfet_01v8___, (16.015,-20.53)))
opamp.add(gdstk.Reference(c_sky130_fd_pr__res_high_p, (21.155,-22.72)))
opamp.add(gdstk.Reference(sky130_fd_pr__pfet_01v8_, (18.815,-5.375)))
opamp.add(gdstk.Reference(c_sky130_fd_pr__pfet_01v8_, (22.645,-7.375)))
opamp.add(gdstk.Reference(sky130_fd_pr__cap_mim_m3, (42.195,-11.345), x_reflection=True))
opamp.add(gdstk.Label('VDD', (18.66,3.79), layer=68, texttype=5))
opamp.add(gdstk.Label('INP', (-6.52,-13.56), layer=68, texttype=5))
opamp.add(gdstk.Label('INN', (-6.03,-9.5), layer=68, texttype=5))
opamp.add(gdstk.Label('VSS', (5.76,-27.64), layer=68, texttype=5))
opamp.add(gdstk.Label('VOUT', (68.61,-15.87), layer=69, texttype=5))

lib.write_gds('OPAMP.gds')
